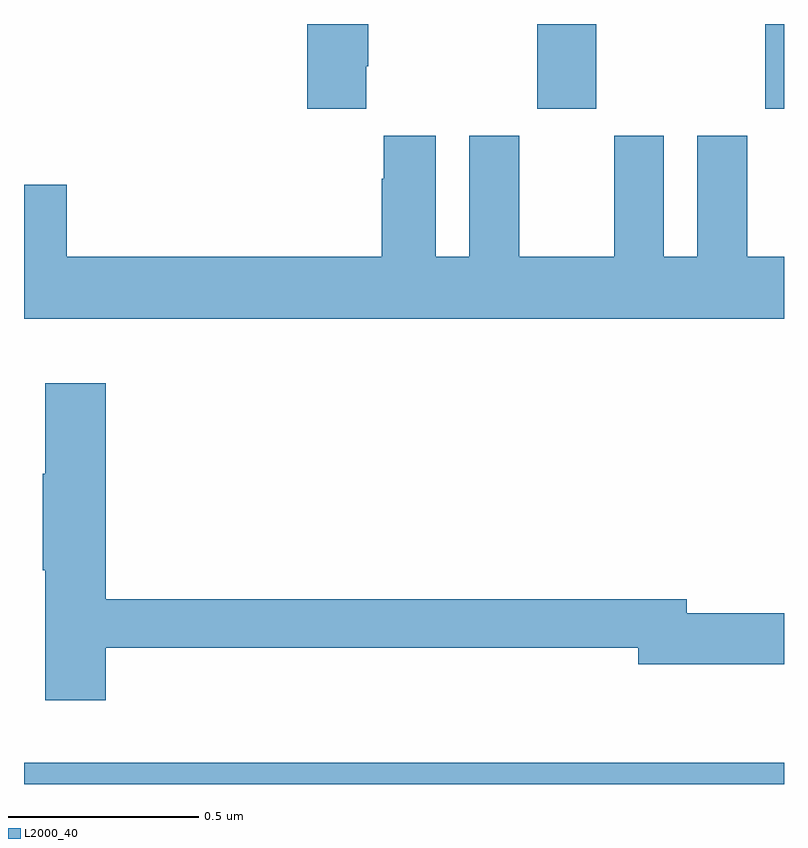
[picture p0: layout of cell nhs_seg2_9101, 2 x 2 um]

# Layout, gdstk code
import gdstk
lib = gdstk.Library(unit=1e-6, precision=1e-09)
def R(c, l, rs):  # rectangles x0, y0, x1, y1
    for r in rs: c.add(gdstk.rectangle(r[:2], r[2:], *l))
def P(c, l, *ps):  # polygons
    for p in ps: c.add(gdstk.Polygon(p, *l))
L2000_40 = (2000, 40)

nhs_seg2_9101 = lib.new_cell('nhs_seg2_9101')
R(nhs_seg2_9101, L2000_40, [(225,591.8,227,591.856), (226.351,593.577,226.506,593.8), (226.951,593.577,227,593.8)])
P(nhs_seg2_9101, L2000_40, [(225.901,593.689),(225.906,593.689),(225.906,593.8),(225.746,593.8),(225.746,593.577),(225.901,593.577)],
  [(227,593.188),(226.903,593.188),(226.903,593.506),(226.772,593.506),(226.772,593.188),(226.684,593.188),(226.684,593.506),(226.553,593.506),(226.553,593.188),(226.303,593.188),(226.303,593.506),(226.172,593.506),(226.172,593.188),(226.084,593.188),(226.084,593.506),(225.947,593.506),(225.947,593.393),(225.941,593.393),(225.941,593.188),(225.112,593.188),(225.112,593.377),(225,593.377),(225,593.024),(227,593.024)],
  [(225.215,592.158),(226.616,592.158),(226.616,592.115),(227,592.115),(227,592.25),(226.744,592.25),(226.744,592.286),(225.215,592.286),(225.215,592.855),(225.056,592.855),(225.056,592.616),(225.049,592.616),(225.049,592.363),(225.056,592.363),(225.056,592.02),(225.215,592.02)])

lib.write_gds('nhs_seg2_9101.gds')
